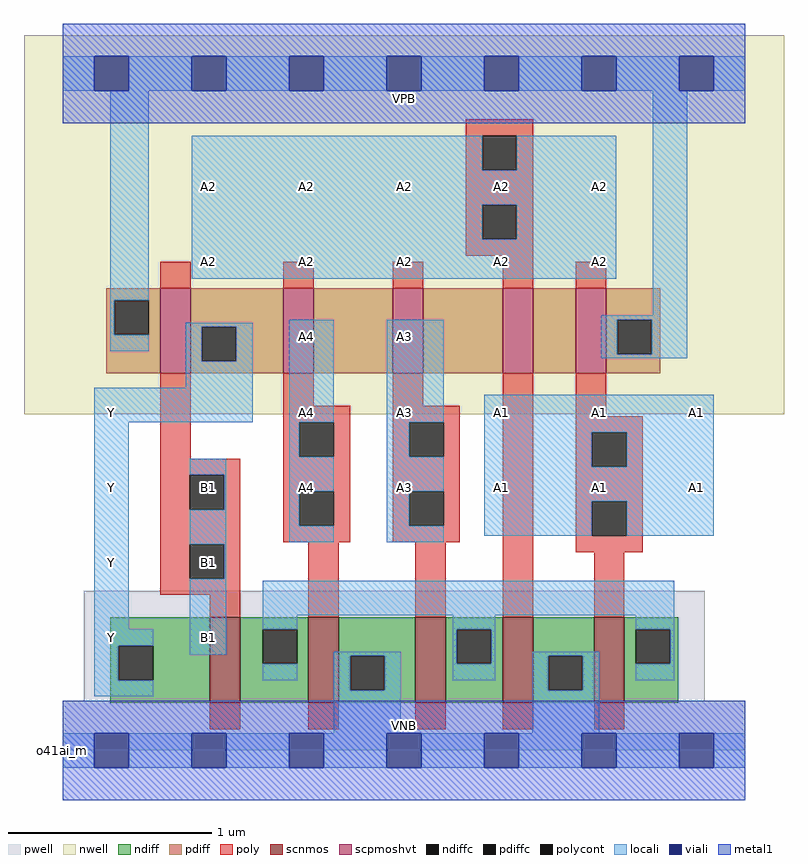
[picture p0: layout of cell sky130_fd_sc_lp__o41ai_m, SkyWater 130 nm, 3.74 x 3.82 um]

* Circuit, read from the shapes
.subckt sky130_fd_sc_lp__o41ai_m A1 A2 A3 A4 B1 VGND VNB VPB VPWR Y
XM1 n1 B1 Y VNB sky130_fd_pr__nfet_01v8 w=0.42 l=0.15
XM2 VGND A4 n1 VNB sky130_fd_pr__nfet_01v8 w=0.42 l=0.15
XM3 n1 A3 VGND VNB sky130_fd_pr__nfet_01v8 w=0.42 l=0.15
XM4 VGND A2 n1 VNB sky130_fd_pr__nfet_01v8 w=0.42 l=0.15
XM5 n1 A1 VGND VNB sky130_fd_pr__nfet_01v8 w=0.42 l=0.15
XM6 Y B1 VPWR VPB sky130_fd_pr__pfet_01v8_hvt w=0.42 l=0.15
XM7 n2 A4 Y VPB sky130_fd_pr__pfet_01v8_hvt w=0.42 l=0.15
XM8 n3 A3 n2 VPB sky130_fd_pr__pfet_01v8_hvt w=0.42 l=0.15
XM9 n4 A2 n3 VPB sky130_fd_pr__pfet_01v8_hvt w=0.42 l=0.15
XM10 VPWR A1 n4 VPB sky130_fd_pr__pfet_01v8_hvt w=0.42 l=0.15
.ends

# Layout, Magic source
magic
tech sky130A
magscale 1 2
<< nwell >>
rect -38 331 710 704
<< pwell >>
rect 21 49 632 157
rect 0 0 672 49
<< scnmos >>
rect 145 47 175 131
rect 242 47 272 131
rect 347 47 377 131
rect 433 47 463 131
rect 523 47 553 131
<< scpmoshvt >>
rect 96 371 126 455
rect 217 371 247 455
rect 325 371 355 455
rect 433 371 463 455
rect 505 371 535 455
<< ndiff >>
rect 47 103 145 131
rect 47 69 55 103
rect 89 69 145 103
rect 47 47 145 69
rect 175 119 242 131
rect 175 85 197 119
rect 231 85 242 119
rect 175 47 242 85
rect 272 93 347 131
rect 272 59 283 93
rect 317 59 347 93
rect 272 47 347 59
rect 377 119 433 131
rect 377 85 388 119
rect 422 85 433 119
rect 377 47 433 85
rect 463 93 523 131
rect 463 59 478 93
rect 512 59 523 93
rect 463 47 523 59
rect 553 119 606 131
rect 553 85 564 119
rect 598 85 606 119
rect 553 47 606 85
<< pdiff >>
rect 43 443 96 455
rect 43 409 51 443
rect 85 409 96 443
rect 43 371 96 409
rect 126 417 217 455
rect 126 383 137 417
rect 171 383 217 417
rect 126 371 217 383
rect 247 371 325 455
rect 355 371 433 455
rect 463 371 505 455
rect 535 424 588 455
rect 535 390 546 424
rect 580 390 588 424
rect 535 371 588 390
<< ndiffc >>
rect 55 69 89 103
rect 197 85 231 119
rect 283 59 317 93
rect 388 85 422 119
rect 478 59 512 93
rect 564 85 598 119
<< pdiffc >>
rect 51 409 85 443
rect 137 383 171 417
rect 546 390 580 424
<< poly >>
rect 397 605 463 621
rect 397 571 413 605
rect 447 571 463 605
rect 397 537 463 571
rect 397 503 413 537
rect 447 503 463 537
rect 397 487 463 503
rect 96 455 126 481
rect 217 455 247 481
rect 325 455 355 481
rect 433 455 463 487
rect 505 455 535 481
rect 96 287 126 371
rect 217 339 247 371
rect 325 339 355 371
rect 217 323 283 339
rect 217 289 233 323
rect 267 289 283 323
rect 96 271 175 287
rect 96 237 125 271
rect 159 237 175 271
rect 96 203 175 237
rect 217 255 283 289
rect 217 221 233 255
rect 267 221 283 255
rect 217 205 283 221
rect 325 323 391 339
rect 325 289 341 323
rect 375 289 391 323
rect 325 255 391 289
rect 325 221 341 255
rect 375 221 391 255
rect 325 205 391 221
rect 96 169 125 203
rect 159 169 175 203
rect 96 153 175 169
rect 145 131 175 153
rect 242 131 272 205
rect 347 131 377 205
rect 433 131 463 371
rect 505 329 535 371
rect 505 313 571 329
rect 505 279 521 313
rect 555 279 571 313
rect 505 245 571 279
rect 505 211 521 245
rect 555 211 571 245
rect 505 195 571 211
rect 523 131 553 195
rect 145 21 175 47
rect 242 21 272 47
rect 347 21 377 47
rect 433 21 463 47
rect 523 21 553 47
<< polycont >>
rect 413 571 447 605
rect 413 503 447 537
rect 233 289 267 323
rect 125 237 159 271
rect 233 221 267 255
rect 341 289 375 323
rect 341 221 375 255
rect 125 169 159 203
rect 521 279 555 313
rect 521 211 555 245
<< locali >>
rect 0 649 31 683
rect 65 649 127 683
rect 161 649 223 683
rect 257 649 319 683
rect 353 649 415 683
rect 449 649 511 683
rect 545 649 607 683
rect 641 649 672 683
rect 47 443 85 649
rect 127 571 413 605
rect 447 571 545 605
rect 127 537 545 571
rect 127 503 413 537
rect 447 503 545 537
rect 127 464 545 503
rect 47 409 51 443
rect 581 428 615 649
rect 530 424 615 428
rect 47 393 85 409
rect 121 417 187 421
rect 121 383 137 417
rect 171 383 187 417
rect 121 357 187 383
rect 31 323 187 357
rect 223 323 267 424
rect 31 119 65 323
rect 223 289 233 323
rect 125 271 161 287
rect 159 237 161 271
rect 125 203 161 237
rect 223 255 267 289
rect 223 221 233 255
rect 223 205 267 221
rect 319 323 375 424
rect 530 390 546 424
rect 580 390 615 424
rect 530 386 615 390
rect 319 289 341 323
rect 319 255 375 289
rect 319 221 341 255
rect 319 205 375 221
rect 415 313 641 350
rect 415 279 521 313
rect 555 279 641 313
rect 415 245 641 279
rect 415 211 521 245
rect 555 211 641 245
rect 159 169 161 203
rect 31 103 89 119
rect 31 69 55 103
rect 125 94 161 169
rect 197 133 602 167
rect 197 119 231 133
rect 384 119 426 133
rect 197 69 231 85
rect 267 93 333 97
rect 31 53 89 69
rect 267 59 283 93
rect 317 59 333 93
rect 384 85 388 119
rect 422 85 426 119
rect 564 119 602 133
rect 384 69 426 85
rect 462 93 528 97
rect 267 17 333 59
rect 462 59 478 93
rect 512 59 528 93
rect 598 85 602 119
rect 564 69 602 85
rect 462 17 528 59
rect 0 -17 31 17
rect 65 -17 127 17
rect 161 -17 223 17
rect 257 -17 319 17
rect 353 -17 415 17
rect 449 -17 511 17
rect 545 -17 607 17
rect 641 -17 672 17
<< viali >>
rect 31 649 65 683
rect 127 649 161 683
rect 223 649 257 683
rect 319 649 353 683
rect 415 649 449 683
rect 511 649 545 683
rect 607 649 641 683
rect 31 -17 65 17
rect 127 -17 161 17
rect 223 -17 257 17
rect 319 -17 353 17
rect 415 -17 449 17
rect 511 -17 545 17
rect 607 -17 641 17
<< metal1 >>
rect 0 683 672 715
rect 0 649 31 683
rect 65 649 127 683
rect 161 649 223 683
rect 257 649 319 683
rect 353 649 415 683
rect 449 649 511 683
rect 545 649 607 683
rect 641 649 672 683
rect 0 617 672 649
rect 0 17 672 49
rect 0 -17 31 17
rect 65 -17 127 17
rect 161 -17 223 17
rect 257 -17 319 17
rect 353 -17 415 17
rect 449 -17 511 17
rect 545 -17 607 17
rect 641 -17 672 17
rect 0 -49 672 -17
<< labels >>
flabel pwell s 0 0 672 49 0 FreeSans 200 0 0 0 VNB
port 7 nsew ground bidirectional
flabel nwell s 0 617 672 666 0 FreeSans 200 0 0 0 VPB
port 8 nsew power bidirectional
rlabel comment s 0 0 0 0 4 o41ai_m
flabel metal1 s 0 617 672 666 0 FreeSans 340 0 0 0 VPWR
port 9 nsew power bidirectional
flabel metal1 s 0 0 672 49 0 FreeSans 340 0 0 0 VGND
port 6 nsew ground bidirectional
flabel locali s 415 242 449 276 0 FreeSans 340 0 0 0 A1
port 1 nsew signal input
flabel locali s 415 316 449 350 0 FreeSans 340 0 0 0 A1
port 1 nsew signal input
flabel locali s 511 242 545 276 0 FreeSans 340 0 0 0 A1
port 1 nsew signal input
flabel locali s 511 316 545 350 0 FreeSans 340 0 0 0 A1
port 1 nsew signal input
flabel locali s 607 242 641 276 0 FreeSans 340 0 0 0 A1
port 1 nsew signal input
flabel locali s 607 316 641 350 0 FreeSans 340 0 0 0 A1
port 1 nsew signal input
flabel locali s 127 464 161 498 0 FreeSans 340 0 0 0 A2
port 2 nsew signal input
flabel locali s 127 538 161 572 0 FreeSans 340 0 0 0 A2
port 2 nsew signal input
flabel locali s 223 464 257 498 0 FreeSans 340 0 0 0 A2
port 2 nsew signal input
flabel locali s 223 538 257 572 0 FreeSans 340 0 0 0 A2
port 2 nsew signal input
flabel locali s 319 464 353 498 0 FreeSans 340 0 0 0 A2
port 2 nsew signal input
flabel locali s 319 538 353 572 0 FreeSans 340 0 0 0 A2
port 2 nsew signal input
flabel locali s 415 464 449 498 0 FreeSans 340 0 0 0 A2
port 2 nsew signal input
flabel locali s 415 538 449 572 0 FreeSans 340 0 0 0 A2
port 2 nsew signal input
flabel locali s 511 464 545 498 0 FreeSans 340 0 0 0 A2
port 2 nsew signal input
flabel locali s 511 538 545 572 0 FreeSans 340 0 0 0 A2
port 2 nsew signal input
flabel locali s 319 242 353 276 0 FreeSans 340 0 0 0 A3
port 3 nsew signal input
flabel locali s 319 316 353 350 0 FreeSans 340 0 0 0 A3
port 3 nsew signal input
flabel locali s 319 390 353 424 0 FreeSans 340 0 0 0 A3
port 3 nsew signal input
flabel locali s 223 242 257 276 0 FreeSans 340 0 0 0 A4
port 4 nsew signal input
flabel locali s 223 316 257 350 0 FreeSans 340 0 0 0 A4
port 4 nsew signal input
flabel locali s 223 390 257 424 0 FreeSans 340 0 0 0 A4
port 4 nsew signal input
flabel locali s 127 94 161 128 0 FreeSans 340 0 0 0 B1
port 5 nsew signal input
flabel locali s 127 168 161 202 0 FreeSans 340 0 0 0 B1
port 5 nsew signal input
flabel locali s 127 242 161 276 0 FreeSans 340 0 0 0 B1
port 5 nsew signal input
flabel locali s 31 94 65 128 0 FreeSans 340 0 0 0 Y
port 10 nsew signal output
flabel locali s 31 168 65 202 0 FreeSans 340 0 0 0 Y
port 10 nsew signal output
flabel locali s 31 242 65 276 0 FreeSans 340 0 0 0 Y
port 10 nsew signal output
flabel locali s 31 316 65 350 0 FreeSans 340 0 0 0 Y
port 10 nsew signal output
<< properties >>
string LEFsite unit
string LEFclass CORE
string FIXED_BBOX 0 0 672 666
string GDS_FILE $PDKPATH/libs.ref/sky130_fd_sc_lp/gds/sky130_fd_sc_lp.gds
string LEFsymmetry X Y R90
string GDS_END 6583454
string GDS_START 6574810
<< end >>
